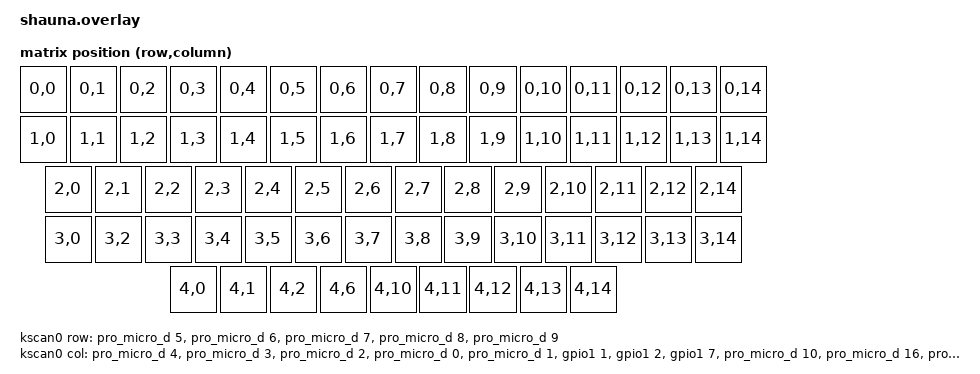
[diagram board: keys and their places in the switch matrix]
/ {
    chosen {
        zmk,kscan = &kscan0;
    };

    kscan0: kscan_0 {
        compatible = "zmk,kscan-gpio-matrix";
        label = "KSCAN";
        diode-direction = "col2row";

        row-gpios
            = <&pro_micro_d 5 (GPIO_ACTIVE_HIGH | GPIO_PULL_DOWN)>
            , <&pro_micro_d 6 (GPIO_ACTIVE_HIGH | GPIO_PULL_DOWN)>
            , <&pro_micro_d 7 (GPIO_ACTIVE_HIGH | GPIO_PULL_DOWN)>
            , <&pro_micro_d 8 (GPIO_ACTIVE_HIGH | GPIO_PULL_DOWN)>
            , <&pro_micro_d 9 (GPIO_ACTIVE_HIGH | GPIO_PULL_DOWN)>
            ;

        col-gpios
            = <&pro_micro_d 4 GPIO_ACTIVE_HIGH>
            , <&pro_micro_d 3 GPIO_ACTIVE_HIGH>
            , <&pro_micro_d 2 GPIO_ACTIVE_HIGH>
            , <&pro_micro_d 0 GPIO_ACTIVE_HIGH>
            , <&pro_micro_d 1 GPIO_ACTIVE_HIGH>
            , <&gpio1 1 GPIO_ACTIVE_HIGH>
            , <&gpio1 2 GPIO_ACTIVE_HIGH>
            , <&gpio1 7 GPIO_ACTIVE_HIGH>
            , <&pro_micro_d 10 GPIO_ACTIVE_HIGH>
            , <&pro_micro_d 16 GPIO_ACTIVE_HIGH>
            , <&pro_micro_d 14 GPIO_ACTIVE_HIGH>
            , <&pro_micro_d 15 GPIO_ACTIVE_HIGH>
            , <&pro_micro_d 18 GPIO_ACTIVE_HIGH>
            , <&pro_micro_d 19 GPIO_ACTIVE_HIGH>
            , <&pro_micro_d 20 GPIO_ACTIVE_HIGH>
            ;


	default_transform: keymap_transform_0 {
		compatible = "zmk,matrix-transform";
		columns = <15>;
		rows = <5>;
        map = <
RC(0,0)  RC(0,1) RC(0,2) RC(0,3) RC(0,4) RC(0,5) RC(0,6) RC(0,7) RC(0,8) RC(0,9) RC(0,10) RC(0,11) RC(0,12) RC(0,13)   RC(0,14)
RC(1,0)    RC(1,1) RC(1,2) RC(1,3) RC(1,4) RC(1,5) RC(1,6) RC(1,7) RC(1,8) RC(1,9) RC(1,10) RC(1,11) RC(1,12) RC(1,13) RC(1,14)
RC(2,0)      RC(2,1) RC(2,2) RC(2,3) RC(2,4) RC(2,5) RC(2,6) RC(2,7) RC(2,8) RC(2,9) RC(2,10) RC(2,11) RC(2,12)        RC(2,14)
RC(3,0)        RC(3,2) RC(3,3) RC(3,4) RC(3,5) RC(3,6) RC(3,7) RC(3,8) RC(3,9) RC(3,10) RC(3,11) RC(3,12)     RC(3,13) RC(3,14)
RC(4,0)  RC(4,1) RC(4,2)                        RC(4,6)                        RC(4,10) RC(4,11)     RC(4,12) RC(4,13) RC(4,14)
        >;
	};
    };
};
